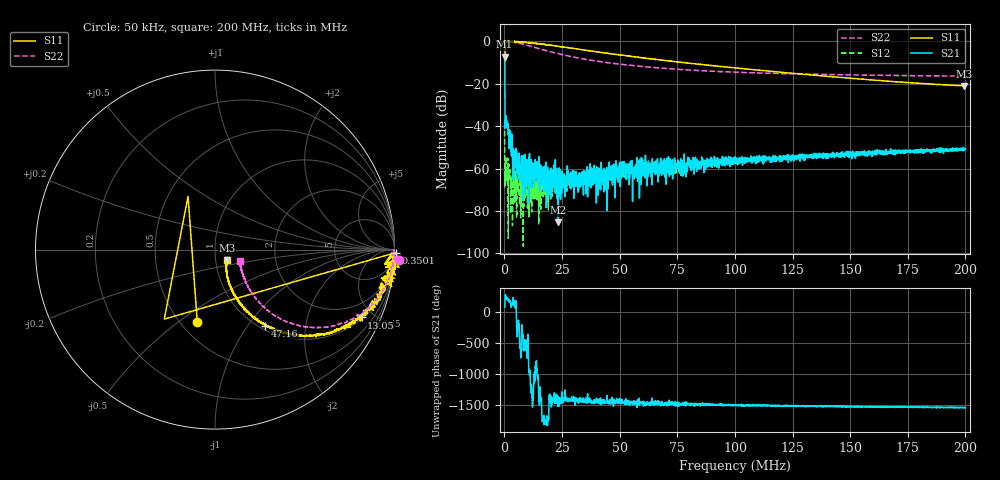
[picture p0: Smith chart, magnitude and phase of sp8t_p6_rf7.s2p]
! 26-Feb-26 12:32:31 PM
! E:\VNA_MEASUREMENTS\SP8T\SP8T_P6_RF7.S2P
! CHANNEL.1
! TR.MEASUREMENT
! CORRECTED.DATA
# GHZ S RI R 50.0
! FREQ.GHZ  S11RE  S11IM  S21RE  S21IM  S12RE  S12IM  S22RE  S22IM
!; PortSelection: Port_12
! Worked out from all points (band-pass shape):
!   2000 points, 50 kHz to 200 MHz, reference 50 ohm
!   highest |S21| = -7.25 dB at 50 kHz (marker M1); lowest = -85.3 dB at 23.36 MHz (marker M2)
!   |S21| within 3 dB of the highest: start of sweep to 119.7 kHz
!   lowest |S11| = -21.0 dB at 199.4 MHz (marker M3), VSWR 1.19, Z = 56.7 - j6.75 ohm
!   |S11| at or under -10 dB: 77.61347 MHz to 77.91998 MHz (306.5 kHz wide, 0.394 % of centre); 78.05 MHz to end of sweep
!   |S22| runs from -16.4 to 0.2 dB; largest |S21 - S12| = 0.42
!   S11 on the Smith chart (normalised r, x): 50 kHz: 0.60, -0.59; 350.1 kHz: open; 13.05 MHz: 1.07, -4.29; 47.16 MHz: 1.06, -1.21; 200 MHz: 1.14, -0.13
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5e-05  -0.0987 -0.403  0.1847 0.3929  0.00115 0.012  1.026 -0.0576
0.000350075  1.007 -0.0169  0.000442 -0.00993  -0.000866 -0.000118  0.9873 -0.0285
0.0012503  1.014 -0.0546  -0.0102 -0.00548  -0.00042 -0.00069  0.9943 -0.0839
0.004351076  0.964 -0.1244  0.000512 0.00128  -0.000388 0.000356  0.9173 -0.2544
0.008852201  0.9192 -0.2534  -0.00172 -0.00132  3.37e-05 0.000202  0.7366 -0.3966
0.01095273  0.863 -0.3108  -0.000837 0.000638  5.95e-05 0.00048  0.652 -0.428
0.01305325  0.8172 -0.3782  -0.000277 0.000692  -0.000204 0.000226  0.579 -0.4351
0.01705425  0.7358 -0.4282  0.000917 -0.000223  4.96e-05 0.000416  0.4647 -0.4218
0.01915478  0.6863 -0.4439  0.000296 0.000744  0.000202 0.00042  0.4168 -0.4082
0.0216554  0.6368 -0.4675  -0.000395 0.00036  0.000284 0.000464  0.3749 -0.3886
0.02335583  0.6022 -0.4715  1.24e-05 -5.29e-05  0.000482 0.000171  0.3488 -0.3767
0.02815703  0.5146 -0.481  0.000506 0.000193  0.000478 0.000361  0.2928 -0.3373
0.03345835  0.4306 -0.4722  0.000495 -0.00011  0.000507 1.79e-05  0.2536 -0.3018
0.03805951  0.3698 -0.4557  0.000868 -4.62e-05  0.000661 -1.4e-06  0.2297 -0.2743
0.04396098  0.3042 -0.4348  0.000718 -0.000214  0.000555 -0.000126  0.2066 -0.2436
0.04716178  0.2788 -0.4234  0.000863 1.39e-05  0.000641 -0.000208  0.1977 -0.2296
0.06676668  0.1659 -0.3332  0.000877 -0.000855  0.000717 -0.00052  0.1667 -0.1688
0.100075  0.0923 -0.2201  0.000717 -0.00112  0.000709 -0.00123  0.1481 -0.1166
0.1333833  0.0678 -0.1458  0.000481 -0.00183  0.000488 -0.00187  0.1423 -0.0896
0.1666917  0.0628 -0.0959  -0.000266 -0.00252  -0.000161 -0.00235  0.1397 -0.0733
0.1993998  0.0663 -0.0591  -0.000465 -0.00277  -0.000542 -0.00272  0.1381 -0.0626
0.2  0.067 -0.0584  -0.000672 -0.00279  -0.000538 -0.00285  0.1378 -0.0621
